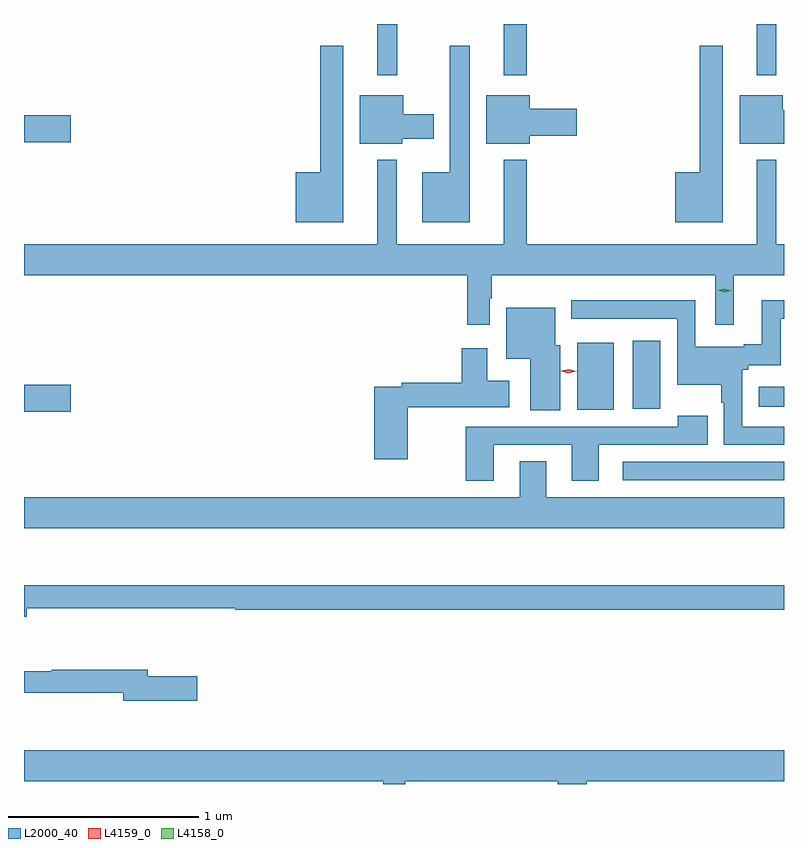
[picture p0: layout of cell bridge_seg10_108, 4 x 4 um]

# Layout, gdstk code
import gdstk
lib = gdstk.Library(unit=1e-6, precision=1e-09)
def R(c, l, rs):  # rectangles x0, y0, x1, y1
    for r in rs: c.add(gdstk.rectangle(r[:2], r[2:], *l))
def P(c, l, *ps):  # polygons
    for p in ps: c.add(gdstk.Polygon(p, *l))
L2000_40 = (2000, 40)
L4158_0 = (4158, 0)
L4159_0 = (4159, 0)

bridge_seg10_108 = lib.new_cell('bridge_seg10_108')
R(bridge_seg10_108, L2000_40, [(449.247,1251.285,450.095,1251.381), (446.095,1251.646,446.341,1251.788), (449.006,1251.656,449.2,1252.009), (449.3,1251.66,449.443,1252.018), (449.961,1251.671,450.095,1251.778), (446.095,1253.063,446.341,1253.205), (447.953,1253.415,448.06,1253.686), (448.619,1253.415,448.741,1253.686), (449.951,1253.415,450.055,1253.686)])
P(bridge_seg10_108, L2000_40, [(449.773,1253.572),(449.652,1253.572),(449.652,1252.906),(449.522,1252.906),(449.522,1252.643),(449.773,1252.643)],
  [(448.441,1253.572),(448.337,1253.572),(448.337,1252.906),(448.19,1252.906),(448.19,1252.643),(448.441,1252.643)],
  [(447.775,1253.572),(447.654,1253.572),(447.654,1252.906),(447.524,1252.906),(447.524,1252.643),(447.775,1252.643)],
  [(448.756,1253.099),(449.005,1253.099),(449.005,1253.241),(448.756,1253.241),(448.756,1253.311),(448.529,1253.311),(448.529,1253.057),(448.756,1253.057)],
  [(450.095,1253.233),(450.088,1253.233),(450.088,1253.311),(449.861,1253.311),(449.861,1253.057),(450.095,1253.057)],
  [(448.086,1253.081),(448.252,1253.081),(448.252,1253.211),(448.09,1253.211),(448.09,1253.311),(447.863,1253.311),(447.863,1253.057),(448.086,1253.057)],
  [(448.057,1252.972),(447.953,1252.972),(447.953,1252.528),(446.095,1252.528),(446.095,1252.364),(448.429,1252.364),(448.429,1252.104),(448.545,1252.104),(448.545,1252.242),(448.558,1252.242),(448.558,1252.364),(449.733,1252.364),(449.733,1252.104),(449.83,1252.104),(449.83,1252.364),(450.095,1252.364),(450.095,1252.528),(450.055,1252.528),(450.055,1252.972),(449.951,1252.972),(449.951,1252.528),(448.741,1252.528),(448.741,1252.972),(448.619,1252.972),(448.619,1252.528),(448.057,1252.528)],
  [(450.095,1251.567),(449.874,1251.567),(449.874,1251.866),(449.907,1251.866),(449.907,1251.891),(450.079,1251.891),(450.079,1252.134),(450.095,1252.134),(450.095,1252.231),(449.978,1252.231),(449.978,1252),(449.882,1252),(449.882,1251.987),(449.628,1251.987),(449.628,1252.231),(448.976,1252.231),(448.976,1252.134),(449.532,1252.134),(449.532,1251.788),(449.766,1251.788),(449.766,1251.692),(449.778,1251.692),(449.778,1251.471),(450.095,1251.471)],
  [(448.918,1251.996),(448.891,1251.996),(448.891,1252.192),(448.634,1252.192),(448.634,1251.923),(448.76,1251.923),(448.76,1251.652),(448.918,1251.652)],
  [(448.116,1251.669),(448.316,1251.669),(448.316,1251.668),(448.648,1251.668),(448.648,1251.808),(448.534,1251.808),(448.534,1251.979),(448.4,1251.979),(448.4,1251.797),(448.084,1251.797),(448.084,1251.777),(447.938,1251.777),(447.938,1251.396),(448.116,1251.396)],
  [(448.567,1251.471),(448.979,1251.471),(448.979,1251.282),(449.119,1251.282),(449.119,1251.471),(449.693,1251.471),(449.693,1251.625),(449.537,1251.625),(449.537,1251.567),(448.42,1251.567),(448.42,1251.282),(448.567,1251.282)],
  [(450.095,1251.196),(448.843,1251.196),(448.843,1251.386),(448.703,1251.386),(448.703,1251.196),(446.095,1251.196),(446.095,1251.032),(450.095,1251.032)],
  [(446.11,1250.61),(447.206,1250.61),(447.206,1250.602),(450.095,1250.602),(450.095,1250.731),(446.095,1250.731),(446.095,1250.567),(446.11,1250.567)],
  [(447.007,1250.253),(446.746,1250.253),(446.746,1250.287),(446.242,1250.287),(446.242,1250.279),(446.095,1250.279),(446.095,1250.166),(446.618,1250.166),(446.618,1250.123),(447.007,1250.123)],
  [(448.101,1249.7),(448.903,1249.7),(448.903,1249.686),(449.058,1249.686),(449.058,1249.7),(450.095,1249.7),(450.095,1249.864),(446.095,1249.864),(446.095,1249.7),(447.985,1249.7),(447.985,1249.686),(448.101,1249.686)])
P(bridge_seg10_108, L4158_0, [(449.781,1252.273),(449.746,1252.284),(449.746,1252.284),(449.746,1252.284),(449.782,1252.293),(449.817,1252.283),(449.817,1252.283),(449.817,1252.283)])
P(bridge_seg10_108, L4159_0, [(448.962,1251.849),(448.923,1251.859),(448.923,1251.86),(448.923,1251.86),(448.962,1251.869),(449.001,1251.859),(449.002,1251.859),(449.001,1251.858)])

lib.write_gds('bridge_seg10_108.gds')
